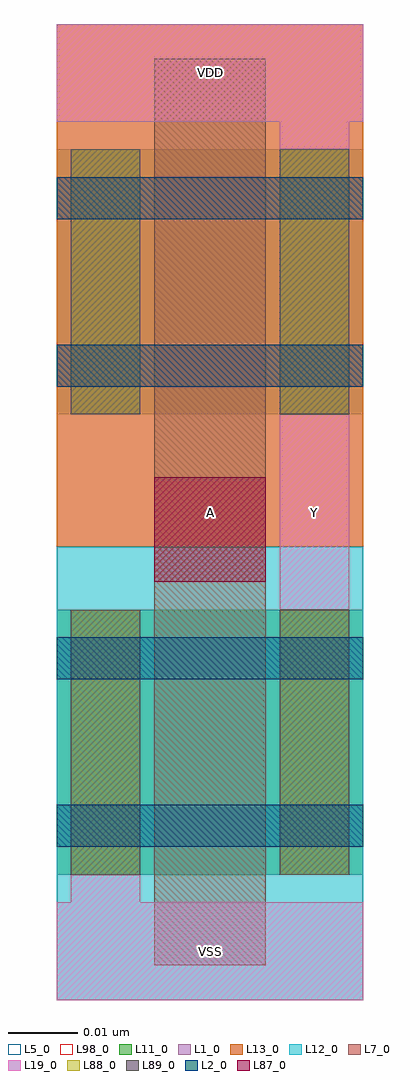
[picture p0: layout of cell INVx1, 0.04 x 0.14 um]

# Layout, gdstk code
import gdstk
lib = gdstk.Library(unit=1e-6, precision=1e-12)
def R(c, l, rs):  # rectangles x0, y0, x1, y1
    for r in rs: c.add(gdstk.rectangle(r[:2], r[2:], *l))
L1_0 = (1, 0)
L2_0 = (2, 0)
L5_0 = (5, 0)
L7_0 = (7, 0)
L11_0 = (11, 0)
L12_0 = (12, 0)
L13_0 = (13, 0)
L19_0 = (19, 0)
L87_0 = (87, 0)
L88_0 = (88, 0)
L89_0 = (89, 0)
L98_0 = (98, 0)

invx1 = lib.new_cell('INVx1')
R(invx1, L1_0, [(0,0.065,0.044,0.14)])
R(invx1, L2_0, [(0,0.022,0.044,0.028), (0,0.046,0.044,0.052), (0,0.088,0.044,0.094), (0,0.112,0.044,0.118)])
R(invx1, L5_0, [(0,0,0.044,0.14)])
R(invx1, L7_0, [(0.014,0.005,0.03,0.135)])
R(invx1, L11_0, [(0,0.018,0.044,0.056), (0,0.084,0.044,0.122)])
R(invx1, L12_0, [(0,0,0.044,0.065)])
R(invx1, L13_0, [(0,0.065,0.044,0.14)])
R(invx1, L19_0, [(0,0,0.044,0.014), (0.002,0,0.012,0.018), (0.032,0.056,0.042,0.084), (0.032,0.122,0.042,0.14), (0,0.126,0.044,0.14)])
R(invx1, L87_0, [(0.014,0.06,0.03,0.075)])
R(invx1, L88_0, [(0.002,0.018,0.012,0.056), (0.032,0.018,0.042,0.056), (0.002,0.084,0.012,0.122), (0.032,0.084,0.042,0.122)])
R(invx1, L89_0, [(0.002,0.018,0.012,0.056), (0.032,0.018,0.042,0.056), (0.002,0.084,0.012,0.122), (0.032,0.084,0.042,0.122)])
R(invx1, L98_0, [(0,0,0.044,0.14)])
invx1.add(gdstk.Label('A', (0.022,0.07), layer=101, texttype=0))
invx1.add(gdstk.Label('Y', (0.037,0.07), layer=101, texttype=0))
invx1.add(gdstk.Label('VDD', (0.022,0.133), layer=101, texttype=0))
invx1.add(gdstk.Label('VSS', (0.022,0.007), layer=101, texttype=0))

lib.write_gds('INVx1.gds')
